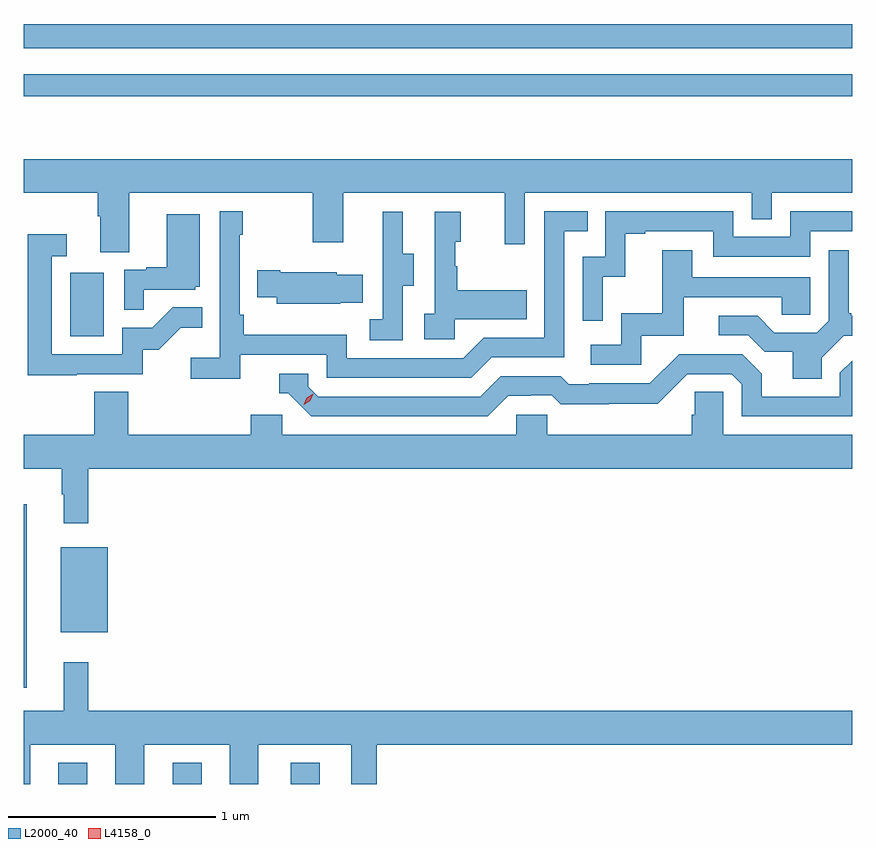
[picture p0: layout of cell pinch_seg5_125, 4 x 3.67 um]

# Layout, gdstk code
import gdstk
lib = gdstk.Library(unit=1e-6, precision=1e-09)
def R(c, l, rs):  # rectangles x0, y0, x1, y1
    for r in rs: c.add(gdstk.rectangle(r[:2], r[2:], *l))
def P(c, l, *ps):  # polygons
    for p in ps: c.add(gdstk.Polygon(p, *l))
L2000_40 = (2000, 40)
L4158_0 = (4158, 0)

pinch_seg5_125 = lib.new_cell('pinch_seg5_125')
R(pinch_seg5_125, L2000_40, [(1066.805,875.218,1066.945,875.32), (1067.357,875.218,1067.497,875.32), (1067.927,875.218,1068.067,875.32), (1066.639,875.682,1066.654,876.568), (1066.817,875.951,1067.044,876.361), (1066.862,877.38,1067.026,877.687), (1066.639,878.538,1070.639,878.646), (1066.639,878.772,1070.639,878.888)])
P(pinch_seg5_125, L2000_40, [(1067.149,878.072),(1068.034,878.072),(1068.034,877.833),(1068.181,877.833),(1068.181,878.072),(1068.962,878.072),(1068.962,877.824),(1069.059,877.824),(1069.059,878.072),(1070.154,878.072),(1070.154,877.945),(1070.25,877.945),(1070.25,878.072),(1070.639,878.072),(1070.639,878.236),(1066.639,878.236),(1066.639,878.072),(1066.997,878.072),(1066.997,877.96),(1067.009,877.96),(1067.009,877.786),(1067.149,877.786)],
  [(1067.684,877.29),(1068.102,877.29),(1068.102,877.179),(1068.799,877.179),(1068.898,877.278),(1069.248,877.278),(1069.248,877.887),(1069.361,877.887),(1069.361,877.983),(1069.152,877.983),(1069.152,877.374),(1068.861,877.374),(1068.762,877.275),(1068.198,877.275),(1068.198,877.387),(1067.702,877.387),(1067.702,877.483),(1067.682,877.483),(1067.682,877.871),(1067.695,877.871),(1067.695,877.984),(1067.586,877.984),(1067.586,877.276),(1067.445,877.276),(1067.445,877.174),(1067.684,877.174)],
  [(1069.434,877.667),(1069.544,877.667),(1069.544,877.875),(1069.639,877.875),(1069.639,877.887),(1069.968,877.887),(1069.968,877.764),(1070.436,877.764),(1070.436,877.887),(1070.639,877.887),(1070.639,877.983),(1070.34,877.983),(1070.34,877.86),(1070.064,877.86),(1070.064,877.983),(1069.446,877.983),(1069.446,877.764),(1069.338,877.764),(1069.338,877.455),(1069.434,877.455)],
  [(1068.468,877.624),(1068.523,877.624),(1068.523,877.779),(1068.469,877.779),(1068.469,877.981),(1068.371,877.981),(1068.371,877.767),(1068.372,877.767),(1068.372,877.463),(1068.309,877.463),(1068.309,877.36),(1068.468,877.36)],
  [(1068.72,877.463),(1069.067,877.463),(1069.067,877.603),(1068.733,877.603),(1068.733,877.718),(1068.723,877.718),(1068.723,877.836),(1068.748,877.836),(1068.748,877.981),(1068.624,877.981),(1068.624,877.49),(1068.573,877.49),(1068.573,877.365),(1068.72,877.365)],
  [(1067.219,877.605),(1067.466,877.605),(1067.466,877.62),(1067.488,877.62),(1067.488,877.969),(1067.33,877.969),(1067.33,877.714),(1067.231,877.714),(1067.231,877.701),(1067.124,877.701),(1067.124,877.507),(1067.219,877.507)],
  [(1066.895,877.197),(1067.214,877.197),(1067.214,877.314),(1067.29,877.314),(1067.397,877.421),(1067.501,877.421),(1067.501,877.52),(1067.357,877.52),(1067.259,877.422),(1067.115,877.422),(1067.115,877.293),(1066.773,877.293),(1066.773,877.767),(1066.846,877.767),(1066.846,877.873),(1066.657,877.873),(1066.657,877.192),(1066.895,877.192)],
  [(1069.62,877.383),(1069.825,877.383),(1069.825,877.569),(1070.299,877.569),(1070.299,877.485),(1070.436,877.485),(1070.436,877.665),(1069.867,877.665),(1069.867,877.795),(1069.723,877.795),(1069.723,877.492),(1069.524,877.492),(1069.524,877.338),(1069.377,877.338),(1069.377,877.242),(1069.62,877.242)],
  [(1070.491,877.276),(1070.598,877.383),(1070.639,877.383),(1070.639,877.48),(1070.635,877.48),(1070.635,877.492),(1070.623,877.492),(1070.623,877.795),(1070.526,877.795),(1070.526,877.455),(1070.469,877.398),(1070.263,877.398),(1070.182,877.479),(1069.995,877.479),(1069.995,877.386),(1070.136,877.386),(1070.216,877.306),(1070.351,877.306),(1070.351,877.174),(1070.491,877.174)],
  [(1068.167,877.541),(1068.275,877.541),(1068.275,877.678),(1068.15,877.678),(1068.15,877.69),(1067.878,877.69),(1067.878,877.698),(1067.767,877.698),(1067.767,877.568),(1067.861,877.568),(1067.861,877.538),(1068.167,877.538)],
  [(1068.979,877.092),(1069.086,877.092),(1069.086,877.095),(1069.189,877.095),(1069.231,877.053),(1069.464,877.053),(1069.464,877.055),(1069.7,877.055),(1069.842,877.197),(1070.058,877.197),(1070.106,877.149),(1070.106,876.993),(1070.639,876.993),(1070.639,877.262),(1070.58,877.203),(1070.58,877.089),(1070.203,877.089),(1070.203,877.199),(1070.109,877.293),(1069.803,877.293),(1069.662,877.152),(1069.369,877.152),(1069.369,877.149),(1069.27,877.149),(1069.231,877.188),(1068.942,877.188),(1068.843,877.089),(1068.06,877.089),(1068.012,877.137),(1068.012,877.2),(1067.873,877.2),(1067.873,877.104),(1067.916,877.104),(1068.027,876.993),(1068.88,876.993)],
  [(1066.949,876.74),(1070.639,876.74),(1070.639,876.904),(1070.016,876.904),(1070.016,877.112),(1069.879,877.112),(1069.879,877.002),(1069.865,877.002),(1069.865,876.904),(1069.167,876.904),(1069.167,877.002),(1069.017,877.002),(1069.017,876.904),(1067.886,876.904),(1067.886,877.002),(1067.735,877.002),(1067.735,876.904),(1067.144,876.904),(1067.144,877.112),(1066.979,877.112),(1066.979,876.904),(1066.639,876.904),(1066.639,876.74),(1066.821,876.74),(1066.821,876.617),(1066.832,876.617),(1066.832,876.477),(1066.949,876.477)],
  [(1066.669,875.408),(1067.081,875.408),(1067.081,875.218),(1067.221,875.218),(1067.221,875.408),(1067.633,875.408),(1067.633,875.218),(1067.772,875.218),(1067.772,875.408),(1068.221,875.408),(1068.221,875.218),(1068.343,875.218),(1068.343,875.408),(1070.639,875.408),(1070.639,875.572),(1066.949,875.572),(1066.949,875.806),(1066.832,875.806),(1066.832,875.572),(1066.639,875.572),(1066.639,875.218),(1066.669,875.218)])
P(pinch_seg5_125, L4158_0, [(1067.991,877.049),(1067.991,877.05),(1068.006,877.082),(1068.036,877.103),(1068.036,877.103),(1068.036,877.102),(1068.021,877.069),(1067.991,877.049)])

lib.write_gds('pinch_seg5_125.gds')
